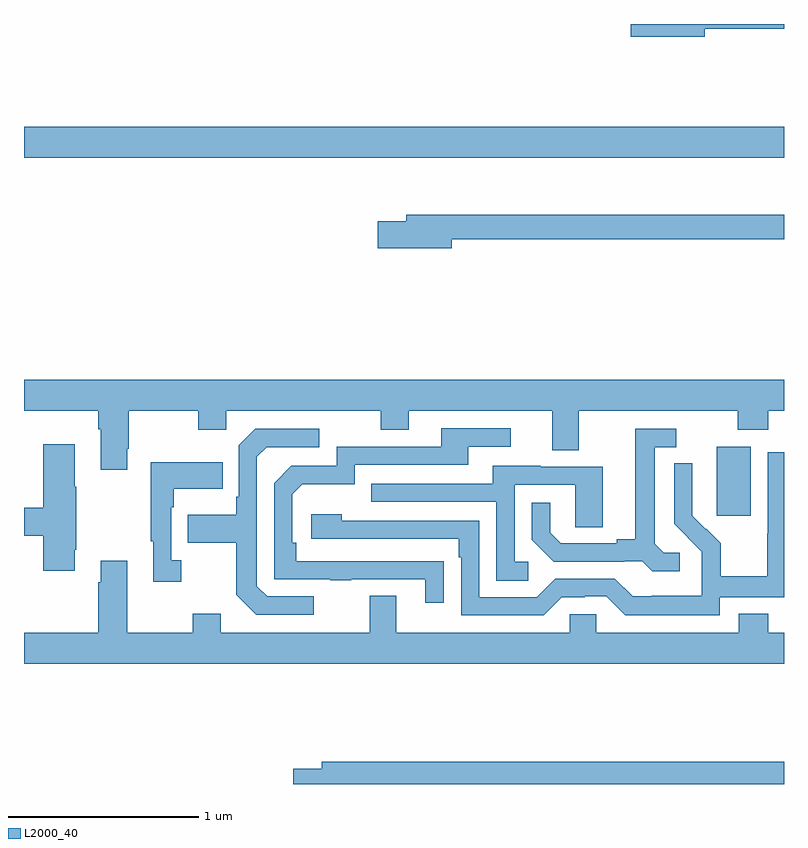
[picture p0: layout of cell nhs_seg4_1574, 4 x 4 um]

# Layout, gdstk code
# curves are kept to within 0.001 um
import gdstk
lib = gdstk.Library(unit=1e-6, precision=1e-09)
def R(c, l, rs):  # rectangles x0, y0, x1, y1
    for r in rs: c.add(gdstk.rectangle(r[:2], r[2:], *l))
def P(c, l, *ps):  # polygons
    for p in ps: c.add(gdstk.Polygon(p, *l))
L2000_40 = (2000, 40)

nhs_seg4_1574 = lib.new_cell('nhs_seg4_1574')
R(nhs_seg4_1574, L2000_40, [(196.646,752.313,196.825,752.674), (193,754.196,197,754.36)])
P(nhs_seg4_1574, L2000_40, [(196.582,754.876),(197,754.876),(197,754.9),(196.194,754.9),(196.194,754.834),(196.582,754.834)],
  [(195.25,753.766),(197,753.766),(197,753.895),(195.011,753.895),(195.011,753.861),(194.862,753.861),(194.862,753.719),(195.25,753.719)],
  [(193.543,752.665),(193.551,752.665),(193.551,752.864),(193.918,752.864),(193.918,752.765),(194.064,752.765),(194.064,752.864),(194.878,752.864),(194.878,752.765),(195.025,752.765),(195.025,752.864),(195.779,752.864),(195.779,752.656),(195.919,752.656),(195.919,752.864),(196.756,752.864),(196.756,752.765),(196.916,752.765),(196.916,752.864),(197,752.864),(197,753.028),(193,753.028),(193,752.864),(193.391,752.864),(193.391,752.768),(193.403,752.768),(193.403,752.553),(193.543,752.553)],
  [(195.209,752.072),(194.432,752.073),(194.432,752.17),(194.412,752.17),(194.412,752.424),(194.465,752.477),(194.742,752.477),(194.742,752.58),(195.337,752.58),(195.337,752.676),(195.562,752.676),(195.562,752.772),(195.197,752.772),(195.197,752.676),(194.646,752.676),(194.646,752.574),(194.406,752.574),(194.316,752.484),(194.316,751.977),(194.611,751.977),(194.611,751.972),(194.723,751.972),(194.723,751.977),(195.113,751.977),(195.113,751.854),(195.209,751.854)],
  [(194.524,751.887),(194.28,751.887),(194.226,751.941),(194.226,752.622),(194.277,752.673),(194.554,752.673),(194.554,752.769),(194.217,752.769),(194.13,752.682),(194.13,752.413),(194.118,752.413),(194.118,752.317),(193.861,752.317),(193.861,752.17),(194.118,752.17),(194.118,751.897),(194.223,751.791),(194.524,751.791)],
  [(196.45,752.118),(196.368,752.118),(196.321,752.165),(196.321,752.673),(196.432,752.673),(196.432,752.769),(196.217,752.769),(196.217,752.189),(196.121,752.189),(196.121,752.166),(195.826,752.166),(195.769,752.223),(195.769,752.38),(195.672,752.38),(195.672,752.186),(195.788,752.07),(196.16,752.07),(196.16,752.073),(196.254,752.073),(196.306,752.021),(196.45,752.021)],
  [(193.267,752.134),(193.275,752.134),(193.275,752.465),(193.267,752.465),(193.267,752.689),(193.1,752.689),(193.1,752.354),(193,752.354),(193,752.207),(193.1,752.207),(193.1,752.022),(193.267,752.022)],
  [(196.662,751.884),(197,751.884),(197,752.646),(196.914,752.646),(196.914,752.216),(196.912,752.216),(196.912,751.993),(196.667,751.993),(196.667,752.167),(196.59,752.244),(196.587,752.241),(196.517,752.312),(196.518,752.588),(196.422,752.588),(196.422,752.27),(196.568,752.122),(196.568,752.025),(196.566,752.025),(196.566,751.891),(196.303,751.891),(196.303,751.887),(196.203,751.887),(196.11,751.98),(195.795,751.98),(195.699,751.884),(195.396,751.884),(195.396,752.286),(194.672,752.286),(194.672,752.32),(194.511,752.32),(194.511,752.19),(195.287,752.19),(195.287,752.093),(195.3,752.093),(195.3,751.788),(195.735,751.788),(195.831,751.884),(195.95,751.884),(195.95,751.887),(196.065,751.887),(196.165,751.787),(196.662,751.787)],
  [(193.828,752.078),(193.776,752.078),(193.776,752.357),(193.789,752.357),(193.789,752.453),(194.045,752.453),(194.045,752.593),(193.668,752.593),(193.668,752.177),(193.679,752.177),(193.679,751.965),(193.828,751.965)],
  [(195.655,752.07),(195.582,752.07),(195.582,752.475),(195.9,752.475),(195.9,752.251),(196.045,752.251),(196.045,752.571),(195.721,752.571),(195.721,752.575),(195.467,752.575),(195.467,752.481),(194.827,752.481),(194.827,752.385),(195.486,752.385),(195.486,751.969),(195.655,751.969)],
  [(197,751.696),(196.916,751.696),(196.916,751.795),(196.763,751.795),(196.763,751.696),(196.011,751.696),(196.011,751.794),(195.873,751.794),(195.873,751.696),(194.959,751.696),(194.959,751.891),(194.819,751.891),(194.819,751.696),(194.035,751.696),(194.035,751.795),(193.888,751.795),(193.888,751.696),(193.543,751.696),(193.543,752.074),(193.403,752.074),(193.403,751.961),(193.391,751.961),(193.391,751.696),(193,751.696),(193,751.532),(197,751.532)],
  [(197,751.016),(194.567,751.016),(194.567,750.98),(194.418,750.98),(194.418,750.9),(197,750.9)])

lib.write_gds('nhs_seg4_1574.gds')
